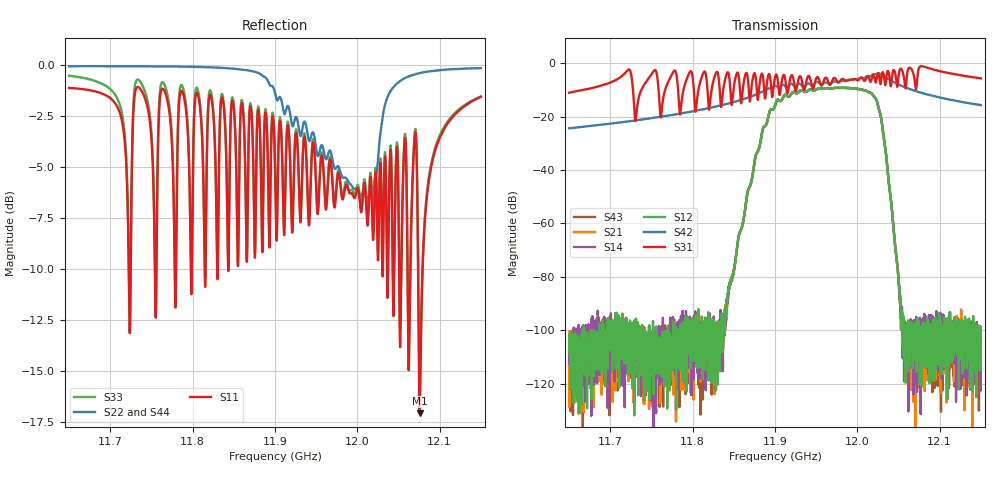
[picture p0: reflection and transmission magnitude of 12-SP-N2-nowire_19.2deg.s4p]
#  HZ  S  RI  R  50.00
! Rohde & Schwarz ZVA24 4Ports - Version 2.92 - 1145.1110k26 SN: 100307
! Date: 2021-03-18 21:25:31
! Measurements: S11 S12 S13 S14 S21 S22 S23 S24 S31 S32 S33 S34 S41 S42 S43 S44
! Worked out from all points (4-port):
!   3334 points, 11.65 GHz to 12.15 GHz, reference 50 ohm
!   strongest paths, dB at 11.65 GHz, 11.775 GHz, 11.9 GHz, 12.025 GHz, 12.15 GHz:
!     S31: -11.0, -4.1, -5.3, -3.8, -5.7
!     S42: -24.4, -19.4, -8.5, -3.7, -15.7
!     S12: -107.4, -113.9, -15.8, -15.7, -104.2
!     S14: -106.5, -98.8, -15.9, -15.7, -113.3
!     S21: -109.7, -106.1, -15.9, -15.7, -105.0
!     S43: -107.8, -98.4, -15.9, -15.8, -113.9
!   lowest |S11| = -17.1 dB at 12.076 GHz (marker M1), VSWR 1.33, Z = 55.2 + j13.9 ohm
!   |S11| at or under -10 dB: 12.05067 GHz to 12.05339 GHz (2.72 MHz wide, 0.0226 % of centre); 12.06086 GHz to 12.06434 GHz (3.481 MHz wide, 0.0289 % of centre); 12.07372 GHz to 12.0792 GHz (5.487 MHz wide, 0.0454 % of centre)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
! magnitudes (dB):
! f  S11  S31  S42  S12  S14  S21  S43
! 11.65 GHz  -1.1  -11.0  -24.4  -107.4  -106.5  -109.7  -107.8
! 11.847 GHz  -2.2  -14.5  -14.8  -80.3  -81.2  -80.9  -81.5
! 11.894 GHz  -6.3  -5.9  -9.5  -17.4  -17.5  -17.4  -17.4
! 11.983 GHz  -6.5  -6.0  -6.5  -9.2  -9.2  -9.2  -9.2
! 12.023 GHz  -5.8  -6.6  -4.0  -13.6  -13.7  -13.6  -13.7
! 12.076 GHz  -17.1  -1.4  -10.9  -99.5  -105.7  -99.3  -106.8
! 12.15 GHz  -1.6  -5.7  -15.7  -104.2  -113.3  -105.0  -113.9
